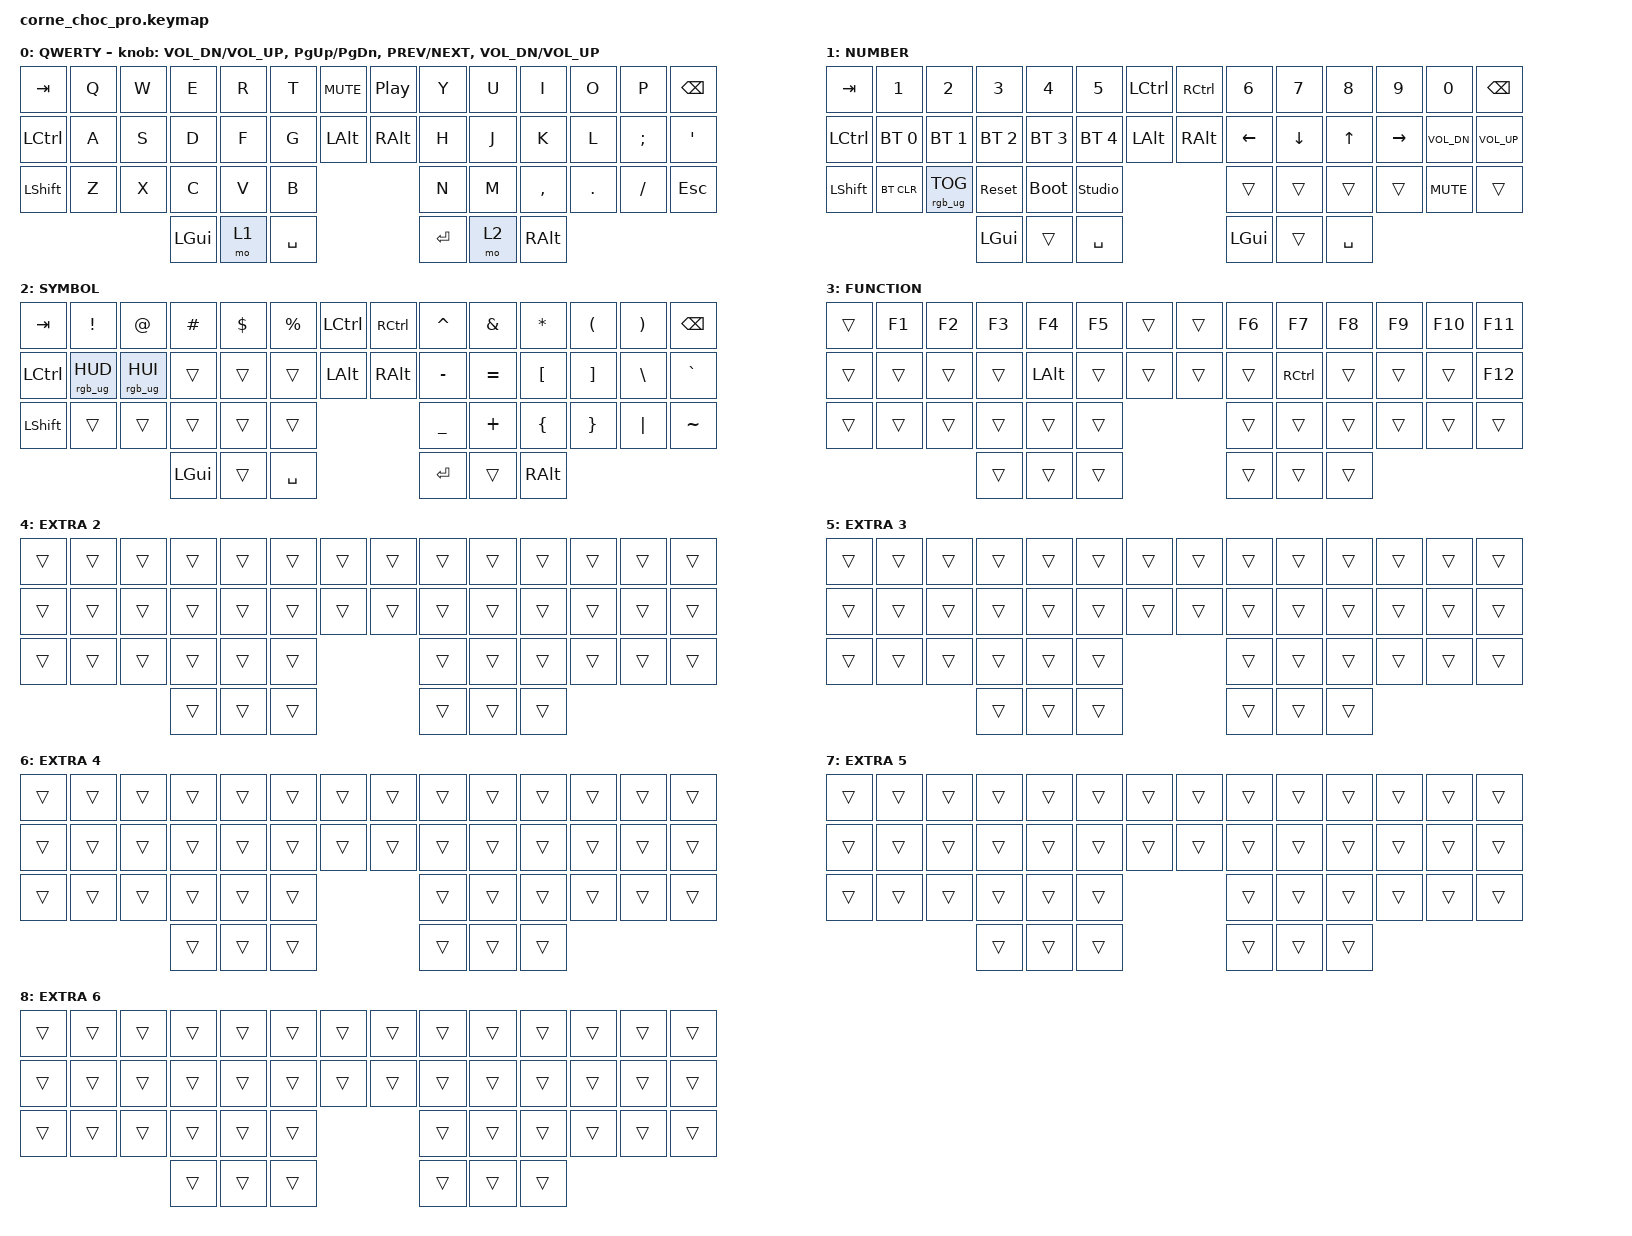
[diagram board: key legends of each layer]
/*
 * Copyright (c) 2020 The ZMK Contributors
 *
 * SPDX-License-Identifier: MIT
 */

#include <behaviors.dtsi>
#include <dt-bindings/zmk/keys.h>
#include <dt-bindings/zmk/bt.h>
#include <dt-bindings/zmk/rgb.h>

/ {
    chosen {
        zmk,physical-layout = &default_layout;
    };
};

/ {
    conditional_layers {
        compatible = "zmk,conditional-layers";
        tri_layer {
            if-layers = <1 2>;
            then-layer = <3>;
        };
    };

    keymap {
        compatible = "zmk,keymap";

        default_layer {
            display-name = "QWERTY";
            // --------------------------------------------------------------------------------
            // |  TAB |  Q  |  W  |  E  |  R  |  T  |  MUTE |  PP   |  Y  |  U   |  I  |  O  |  P  | BSPC |
            // | CTRL |  A  |  S  |  D  |  F  |  G  |  LALT |  RALT |  H  |  J   |  K  |  L  |  ;  |  '   |
            // | SHFT |  Z  |  X  |  C  |  V  |  B  |               |  N  |  M   |  ,  |  .  |  /  | ESC  |
            //                    | GUI | LWR | SPC |               | ENT | RSE  | ALT |
            bindings = <
                &kp TAB   &kp Q &kp W &kp E &kp R &kp T &kp C_MUTE &kp C_PP &kp Y &kp U  &kp I     &kp O   &kp P    &kp BSPC
                &kp LCTRL &kp A &kp S &kp D &kp F &kp G &kp LALT   &kp RALT &kp H &kp J  &kp K     &kp L   &kp SEMI &kp SQT
                &kp LSHFT &kp Z &kp X &kp C &kp V &kp B                     &kp N &kp M  &kp COMMA &kp DOT &kp FSLH &kp ESC
                                      &kp LGUI &mo 1 &kp SPACE              &kp RET &mo 2 &kp RALT
            >;
            sensor-bindings = <&inc_dec_kp C_VOL_DN C_VOL_UP &inc_dec_kp PG_UP PG_DN &inc_dec_kp C_PREV C_NEXT &inc_dec_kp C_VOL_DN C_VOL_UP>;
        };

        lower_layer {
            display-name = "NUMBER";
            // -----------------------------------------------------------------------------------------
            // |  TAB |  1  |  2  |  3  |  4  |  5    |  LCTRL | RCTRL |  6  |  7  |  8  |  9  |  0  | BSPC |
            // | CTRL | BT1 | BT2 | BT3 | BT4 | BT5   |  LALT  | RALT  | LFT | DWN |  UP | RGT | VOL- | VOL+ |
            // | SHFT | BTCR| RGB | RST | BOOT| Unlock|        |       |     |     |     |     | MUTE |      |
            //                    | GUI |     | SPC   |        | ENT   |     | ALT |
            bindings = <
                &kp TAB   &kp N1       &kp N2          &kp N3       &kp N4       &kp N5       &kp LCTRL &kp RCTRL &kp N6   &kp N7   &kp N8 &kp N9    &kp N0 &kp BSPC
                &kp LCTRL &bt BT_SEL 0 &bt BT_SEL 1    &bt BT_SEL 2 &bt BT_SEL 3 &bt BT_SEL 4 &kp LALT  &kp RALT  &kp LEFT &kp DOWN &kp UP &kp RIGHT &kp C_VOL_DN &kp C_VOL_UP
                &kp LSHFT &bt BT_CLR   &rgb_ug RGB_TOG &sys_reset   &bootloader  &studio_unlock                   &trans   &trans   &trans &trans    &kp C_MUTE &trans
                                                       &kp LGUI     &trans       &kp SPACE                        &kp LGUI &trans   &kp SPACE
            >;
        };

        raise_layer {
            display-name = "SYMBOL";
            // -----------------------------------------------------------------------------------------
            // |  TAB |  !  |  @  |  #  |  $  |  %  | LCTRL | RCTRL |  ^  |  &  |  *  |  (  |  )  | BSPC |
            // | CTRL | HUD | HUI |     |     |     |  LALT | RALT  |  -  |  =  |  [  |  ]  |  \  |  `   |
            // | SHFT |     |     |     |     |     |               |  _  |  +  |  {  |  }  | "|" |  ~   |
            //                    | GUI |     | SPC |               | ENT |     | ALT |
            bindings = <
                &kp  TAB  &kp EXCL        &kp AT          &kp HASH &kp DLLR &kp PRCNT &kp LCTRL &kp RCTRL &kp CARET &kp AMPS  &kp ASTRK &kp LPAR &kp RPAR &kp BSPC
                &kp LCTRL &rgb_ug RGB_HUD &rgb_ug RGB_HUI &trans   &trans   &trans    &kp LALT  &kp RALT  &kp MINUS &kp EQUAL &kp LBKT  &kp RBKT &kp BSLH &kp GRAVE
                &kp LSHFT &trans          &trans          &trans   &trans   &trans                        &kp UNDER &kp PLUS  &kp LBRC  &kp RBRC &kp PIPE &kp TILDE
                                                          &kp LGUI &trans   &kp SPACE                     &kp RET   &trans    &kp RALT
            >;
        };

        function_layer {
            display-name = "FUNCTION";
            // Hold LOWER + RAISE together (tri-layer, see conditional_layers below).
            // F1-F10 sit on the same keys as 1-0 on the NUMBER layer; F11/F12 on BSPC / ' positions.
            // LALT on F, RCTRL on J (index home keys).
            // -----------------------------------------------------------------------------------------
            // |      |  F1 |  F2 |  F3 |  F4 |  F5 |       |       |  F6 |  F7 |  F8 |  F9 | F10 | F11  |
            // |      |     |     |     | LALT|     |       |       |     |RCTRL|     |     |     | F12  |
            // |      |     |     |     |     |     |               |     |     |     |     |     |      |
            //                    |     |     |     |               |     |     |     |
            bindings = <
                &trans &kp F1 &kp F2 &kp F3 &kp F4 &kp F5 &trans &trans &kp F6 &kp F7 &kp F8 &kp F9 &kp F10 &kp F11
                &trans &trans &trans &trans &kp LALT &trans &trans &trans &trans &kp RCTRL &trans &trans &trans  &kp F12
                &trans &trans &trans &trans &trans &trans               &trans &trans &trans &trans &trans  &trans
                                     &trans &trans &trans               &trans &trans &trans
            >;
        };

        extra_layer_2 {
            display-name = "EXTRA 2";
            bindings = <
                &trans &trans &trans &trans &trans &trans &trans &trans &trans &trans &trans &trans &trans &trans
                &trans &trans &trans &trans &trans &trans &trans &trans &trans &trans &trans &trans &trans &trans
                &trans &trans &trans &trans &trans &trans               &trans &trans &trans &trans &trans &trans
                                     &trans &trans &trans               &trans &trans &trans       
            >;
        };

        extra_layer_3 {
            display-name = "EXTRA 3";
            bindings = <
                &trans &trans &trans &trans &trans &trans &trans &trans &trans &trans &trans &trans &trans &trans
                &trans &trans &trans &trans &trans &trans &trans &trans &trans &trans &trans &trans &trans &trans
                &trans &trans &trans &trans &trans &trans               &trans &trans &trans &trans &trans &trans
                                     &trans &trans &trans               &trans &trans &trans       
            >;
        };

        extra_layer_4 {
            display-name = "EXTRA 4";
            bindings = <
                &trans &trans &trans &trans &trans &trans &trans &trans &trans &trans &trans &trans &trans &trans
                &trans &trans &trans &trans &trans &trans &trans &trans &trans &trans &trans &trans &trans &trans
                &trans &trans &trans &trans &trans &trans               &trans &trans &trans &trans &trans &trans
                                     &trans &trans &trans               &trans &trans &trans       
            >;
        };

        extra_layer_5 {
            display-name = "EXTRA 5";
            bindings = <
                &trans &trans &trans &trans &trans &trans &trans &trans &trans &trans &trans &trans &trans &trans
                &trans &trans &trans &trans &trans &trans &trans &trans &trans &trans &trans &trans &trans &trans
                &trans &trans &trans &trans &trans &trans               &trans &trans &trans &trans &trans &trans
                                     &trans &trans &trans               &trans &trans &trans       
            >;
        };

        extra_layer_6 {
            display-name = "EXTRA 6";
            bindings = <
                &trans &trans &trans &trans &trans &trans &trans &trans &trans &trans &trans &trans &trans &trans
                &trans &trans &trans &trans &trans &trans &trans &trans &trans &trans &trans &trans &trans &trans
                &trans &trans &trans &trans &trans &trans               &trans &trans &trans &trans &trans &trans
                                     &trans &trans &trans               &trans &trans &trans       
            >;
        };
    };
};
